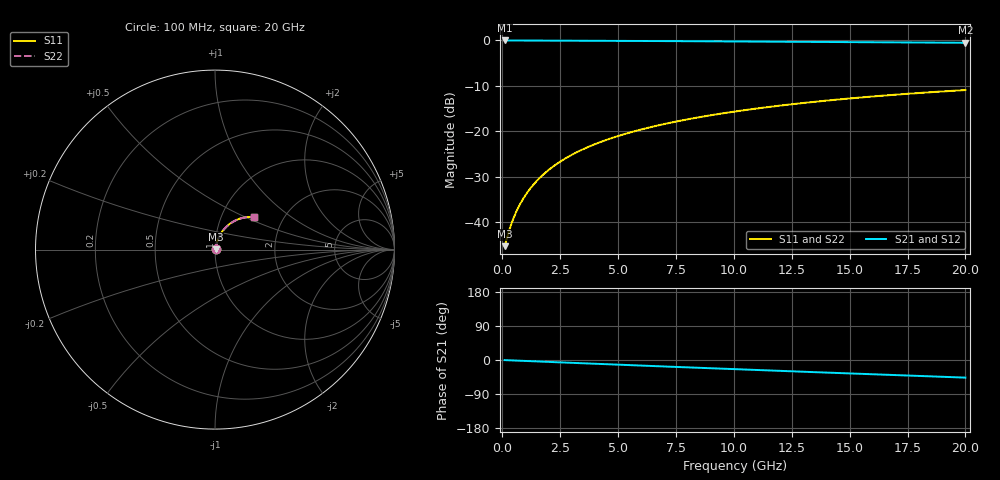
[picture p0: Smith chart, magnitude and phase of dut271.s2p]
! Touchstone file exported from HFSS 2026.1.0
!  File:  C:/ffzhzh/LocalFiles/Ansys_Project_Files/temp_train_TMRDL_271_1782985172_6248.aedt
!  Generated:  05:40:42 PM Jul  2, 2026
!  Design:  TMRDL
!  Project:  temp_train_TMRDL_271_1782985172_6248
! Variables:
!  h_bsmrdl = 2um
!  h_ox = 20um
!  h_rdl = 5um
!  h_sub = 80um
!  h_tmrdl = 5.31um
!  h_tsv = 80um
!  h_via = 3um
!  l_bsmrdl = 300um
!  l_sub = 1203.15um
!  l_tmrdl = 803.15um
!  m_sub = 200um
!  pitch = 21.4um
!  r_tsv = 6um
!  s_tmrdl = 10um
!  w_bsmrdl = 18um
!  w_sub = 500um
!  w_tmrdl = 10.79um
!  x_tsv_center1 = 808.545um
!  x_tsv_center2 = 1126.545um
!  x_tsv_center3 = 1940.485um
!  x_tsv_center4 = 2258.485um
!  x_tsv_center5 = 3072.425um
!  x_tsv_center6 = 3390.425um
# GHz S MA R 50.000000
! Terminal data exported
! Port[1] = TM_RDL1_1_T1
! Port[2] = TM_RDL1_1_T2
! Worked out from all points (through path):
!   200 points, 100 MHz to 20 GHz, reference 50 ohm
!   highest |S21| = -0.04 dB at 100 MHz (marker M1); lowest = -0.6 dB at 20 GHz (marker M2)
!   group delay of S21, straight-line fit = 6.44 ps
!   lowest |S11| = -45.3 dB at 100 MHz (marker M3), VSWR 1.01, Z = 50.5 + j0.212 ohm
!   |S11| at or under -10 dB: start of sweep to end of sweep
!   |S22| runs from -45.3 to -11.0 dB; largest |S21 - S12| = 3.5e-15
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0.1  0.005427 22.7  0.995 -0.3  0.995 -0.3  0.005427 22.7
! Gamma 0 0 0 0
! Port Impedance 50 0 50 0
0.3  0.008101 47.7  0.9946 -0.8  0.9946 -0.8  0.008101 47.7
0.4  0.009662 54.0  0.9944 -1.0  0.9944 -1.0  0.009663 54.0
0.6  0.01291 61.8  0.9941 -1.5  0.9941 -1.5  0.01292 61.8
0.7  0.01459 64.4  0.994 -1.8  0.994 -1.8  0.01459 64.4
0.9  0.018 68.1  0.9938 -2.3  0.9938 -2.3  0.01801 68.0
1.1  0.02148 70.4  0.9936 -2.8  0.9936 -2.8  0.02148 70.4
1.3  0.025 71.9  0.9933 -3.3  0.9933 -3.3  0.025 71.9
1.7  0.03207 73.6  0.9928 -4.3  0.9928 -4.3  0.03208 73.6
2.2  0.04091 74.3  0.9919 -5.5  0.9919 -5.5  0.04091 74.3
2.8  0.05141 74.1  0.9908 -7.0  0.9908 -7.0  0.05141 74.1
3.5  0.06344 73.3  0.9892 -8.7  0.9892 -8.7  0.06344 73.3
4.2  0.07522 72.2  0.9875 -10.4  0.9875 -10.4  0.07522 72.1
5  0.08836 70.7  0.9853 -12.4  0.9853 -12.4  0.08837 70.6
5.9  0.1028 68.9  0.9828 -14.5  0.9828 -14.5  0.1028 68.8
6.8  0.1168 67.0  0.9802 -16.6  0.9802 -16.6  0.1168 67.0
8.3  0.1394 63.9  0.9757 -20.2  0.9757 -20.2  0.1394 63.8
10.1  0.1652 60.1  0.9702 -24.3  0.9702 -24.3  0.1652 60.0
11.7  0.1871 56.8  0.9651 -28.0  0.9651 -28.0  0.1871 56.7
13.4  0.2093 53.3  0.9596 -31.9  0.9596 -31.9  0.2093 53.1
16.7  0.2488 46.4  0.9488 -39.3  0.9488 -39.3  0.2488 46.2
20  0.2833 39.6  0.9381 -46.5  0.9381 -46.5  0.2834 39.4
